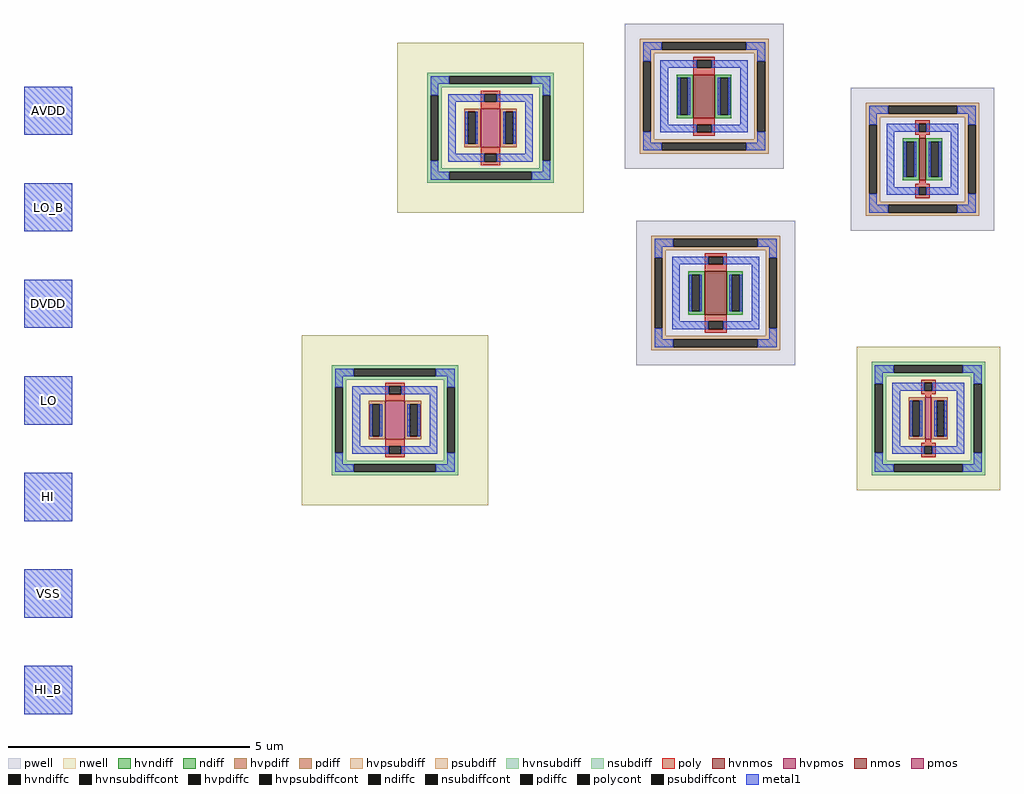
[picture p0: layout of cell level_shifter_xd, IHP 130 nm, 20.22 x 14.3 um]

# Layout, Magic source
magic
tech ihp-sg13cmos5l
magscale 1 2
<< metal1 >>
rect -1000 0 -800 200
rect -1000 -400 -800 -200
rect -1000 -800 -800 -600
rect -1000 -1200 -800 -1000
rect -1000 -1600 -800 -1400
rect -1000 -2000 -800 -1800
rect -1000 -2400 -800 -2200
use sg13_hv_pmos_5KSV8U  MM1
transform 1 0 537 0 1 -1182
box -386 -352 386 352
use sg13_hv_nmos_T9UVNU  MM2
transform 1 0 1866 0 1 -655
box -329 -300 329 300
use sg13_hv_pmos_5KSV8U  MM3
transform 1 0 933 0 1 29
box -386 -352 386 352
use sg13_hv_nmos_T9UVNU  MM4
transform 1 0 1818 0 1 160
box -329 -300 329 300
use sg13_lv_pmos_D4FDZU  MM5
transform 1 0 2747 0 1 -1175
box -297 -297 297 297
use sg13_lv_nmos_L42H6Y  MM6
transform 1 0 2723 0 1 -101
box -297 -297 297 297
<< labels >>
flabel metal1 -1000 0 -800 200 0 FreeSans 1600 0 0 0 AVDD
port 0 nsew
flabel metal1 -1000 -400 -800 -200 0 FreeSans 1600 0 0 0 LO_B
port 1 nsew
flabel metal1 -1000 -800 -800 -600 0 FreeSans 1600 0 0 0 DVDD
port 2 nsew
flabel metal1 -1000 -1200 -800 -1000 0 FreeSans 1600 0 0 0 LO
port 3 nsew
flabel metal1 -1000 -1600 -800 -1400 0 FreeSans 1600 0 0 0 HI
port 4 nsew
flabel metal1 -1000 -2000 -800 -1800 0 FreeSans 1600 0 0 0 VSS
port 5 nsew
flabel metal1 -1000 -2400 -800 -2200 0 FreeSans 1600 0 0 0 HI_B
port 6 nsew
<< end >>

# cell sg13_hv_pmos_5KSV8U: kit device sg13_hv_pmos, w 0.8 l 0.4 m 1 ng 1 diffcov 100 polycov 100 guard 1 glc 1 grc 1 gtc 1 gbc 1 tbcov 100 rlcov 100 topc 1 botc 1 poverlap 0 doverlap 1 lmin 0.4 wmin 0.15 class mosfet compatible {sg13_lv_pmos sg13_hv_pmos} full_metal 1 conn_gates 1 gate_ring 1 ccols 1 viasrc 0 viadrn 0 viagate 0 viagb 0 viagr 0 viagl 0 viagt 0 doports 1

# cell sg13_hv_nmos_T9UVNU: kit device sg13_hv_nmos, w 0.9 l 0.45 m 1 ng 1 diffcov 100 polycov 100 guard 1 glc 1 grc 1 gtc 1 gbc 1 tbcov 100 rlcov 100 topc 1 botc 1 poverlap 0 doverlap 1 lmin 0.45 wmin 0.15 class mosfet compatible {sg13_lv_nmos sg13_hv_nmos} full_metal 1 conn_gates 1 gate_ring 1 doports 1 viasrc 0 viadrn 0 viagate 0 ccols 1 viagb 0 viagr 0 viagl 0 viagt 0

# cell sg13_lv_pmos_D4FDZU: kit device sg13_lv_pmos, w 0.87 l 0.13 m 1 ng 1 diffcov 100 polycov 100 guard 1 glc 1 grc 1 gtc 1 gbc 1 tbcov 100 rlcov 100 topc 1 botc 1 poverlap 0 doverlap 1 lmin 0.13 wmin 0.15 class mosfet compatible {sg13_lv_pmos sg13_hv_pmos} full_metal 1 conn_gates 1 gate_ring 1 ccols 1 viasrc 0 viadrn 0 viagate 0 viagb 0 viagr 0 viagl 0 viagt 0 doports 1

# cell sg13_lv_nmos_L42H6Y: kit device sg13_lv_nmos, w 0.87 l 0.13 m 1 ng 1 diffcov 100 polycov 100 guard 1 glc 1 grc 1 gtc 1 gbc 1 tbcov 100 rlcov 100 topc 1 botc 1 poverlap 0 doverlap 1 lmin 0.13 wmin 0.15 class mosfet compatible {sg13_lv_nmos sg13_hv_nmos} full_metal 1 conn_gates 1 gate_ring 1 doports 1 viasrc 0 viadrn 0 viagate 0 ccols 1 viagb 0 viagr 0 viagl 0 viagt 0
